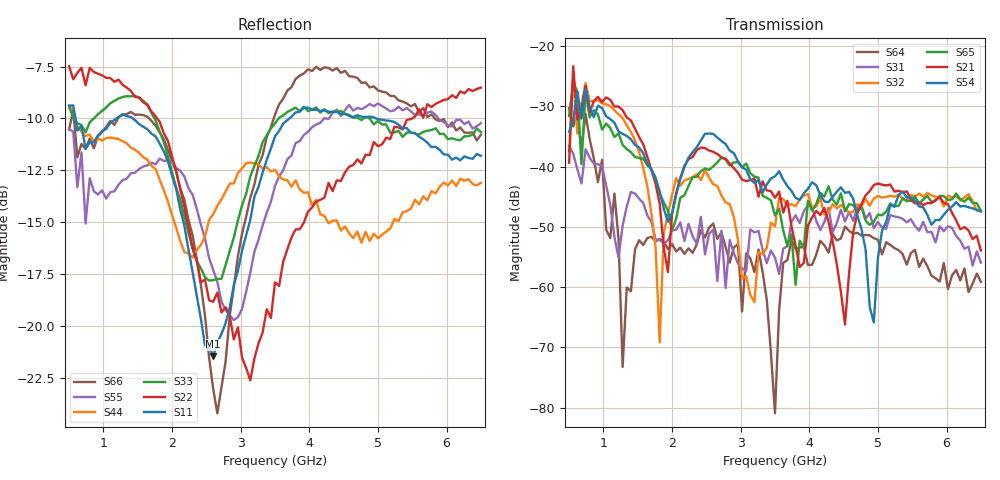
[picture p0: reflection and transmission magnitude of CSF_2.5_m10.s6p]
!Keysight Technologies,M9804A,MY58100912,A.14.10.03
!Date: Thursday, April 27, 2023 10:28:33
!Correction: S11(C  6-Port  )
!S12(C  6-Port  )
!S13(C  6-Port  )
!S14(C  6-Port  )
!S15(C  6-Port  )
!S16(C  6-Port  )
!S21(C  6-Port  )
!S22(C  6-Port  )
!S23(C  6-Port  )
!S24(C  6-Port  )
!S25(C  6-Port  )
!S26(C  6-Port  )
!S31(C  6-Port  )
!S32(C  6-Port  )
!S33(C  6-Port  )
!S34(C  6-Port  )
!S35(C  6-Port  )
!S36(C  6-Port  )
!S41(C  6-Port  )
!S42(C  6-Port  )
!S43(C  6-Port  )
!S44(C  6-Port  )
!S45(C  6-Port  )
!S46(C  6-Port  )
!S51(C  6-Port  )
!S52(C  6-Port  )
!S53(C  6-Port  )
!S54(C  6-Port  )
!S55(C  6-Port  )
!S56(C  6-Port  )
!S61(C  6-Port  )
!S62(C  6-Port  )
!S63(C  6-Port  )
!S64(C  6-Port  )
!S65(C  6-Port  )
!S66(C  6-Port  )
!S6P File: Measurement: :
# Hz S  RI  R 50
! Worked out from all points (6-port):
!   101 points, 500 MHz to 6.5 GHz, reference 50 ohm
!   strongest paths, dB at 500 MHz, 2 GHz, 3.5 GHz, 5 GHz, 6.5 GHz:
!     S54: -34.2, -47.7, -41.6, -55.2, -47.5
!     S21: -39.3, -47.8, -45.2, -42.8, -53.9
!     S65: -31.6, -50.6, -48.1, -48.0, -47.3
!     S32: -37.5, -44.7, -49.9, -44.9, -47.3
!     S31: -36.6, -50.6, -55.1, -49.2, -55.9
!     S64: -30.3, -52.8, -80.9, -52.1, -59.1
!   lowest |S11| = -21.5 dB at 2.6 GHz (marker M1), VSWR 1.18, Z = 42.5 + j2.15 ohm
!   |S11| at or under -10 dB: 591.2 MHz to 1.191 GHz (600 MHz wide, 67.3 % of centre); 1.428 GHz to 3.71 GHz (2.282 GHz wide, 88.8 % of centre); 4.974 GHz to end of sweep
